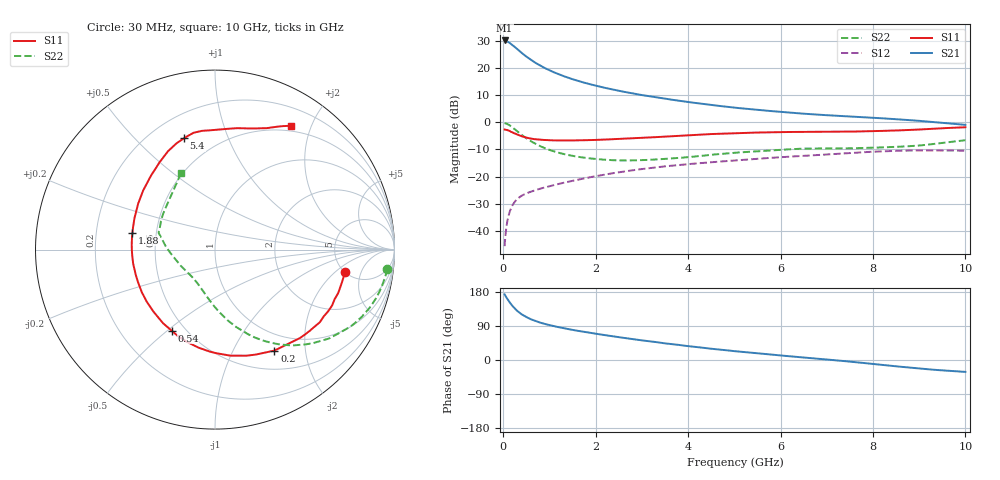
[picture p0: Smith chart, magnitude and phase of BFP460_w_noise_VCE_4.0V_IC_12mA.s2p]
! (c) 2016  Infineon Technologies AG, Munich
! Infineon Technologies  Discrete & RF Semiconductors
! BFP460
! VCE =  4.0 V,  IC =  12 mA
! Common Emitter S-Parameters:  Jan 2016
# GHz  S  MA  R  50
!  f  S11  S21  S12  S22
! GHz  MAG  ANG  MAG  ANG  MAG  ANG  MAG  ANG
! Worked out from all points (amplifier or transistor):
!   229 points, 30 MHz to 10 GHz, reference 50 ohm
!   highest |S21| = 30.2 dB at 30 MHz (marker M1)
!   |S21| within 3 dB of that: start of sweep to 290.7 MHz
!   unconditionally stable (mu >= 1): 2.28 GHz to 7.705 GHz
!   at 280 MHz: K = 0.31, MSG = 28.0 dB, |S12| = -28.7 dB
!   at 1.78 GHz: K = 0.95, MSG = 17.5 dB, |S12| = -20.6 dB
!   at 10 GHz: K = 0.96, MSG = 4.8 dB, |S12| = -10.4 dB
!   lowest NFmin = 1.03 dB at 450 MHz
!   S11 on the Smith chart (normalised r, x): 30 MHz: 5.08, -2.72; 200 MHz: 0.75, -1.47; 540 MHz: 0.42, -0.52; 1.88 GHz: 0.36, +0.09; 5.4 GHz: 0.33, +0.71; 10 GHz: 0.42, +1.71
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0.03  0.7362 -9.6  32.29 173.2  0.0052 81.3  0.9651 -6.5
0.07  0.7214 -22.6  31.5 164.7  0.0119 77.2  0.9449 -14.6
0.12  0.7012 -37.8  29.81 155.6  0.0196 71.8  0.9 -24.5
0.15  0.6827 -46.3  28.61 150.3  0.0237 68.1  0.8664 -29.9
0.2  0.6529 -59.5  26.59 142.6  0.0295 63.1  0.8059 -37.9
0.26  0.6168 -73.4  24.08 134.6  0.0351 58.3  0.7324 -46.1
0.36  0.5693 -92.8  20.33 124.0  0.0421 52.8  0.6237 -57.2
0.45  0.5374 -107.0  17.57 116.6  0.0467 49.9  0.5445 -65.0
0.54  0.5121 -118.1  15.41 111.1  0.0504 48.3  0.4828 -70.8
0.6  0.502 -125.2  14.14 107.4  0.0527 47.5  0.4472 -74.7
0.7  0.4869 -134.7  12.44 102.6  0.0563 46.9  0.4 -79.9
0.9  0.4719 -149.8  10 95.1  0.063 46.7  0.3334 -88.2
1.3  0.4626 -170.8  7.133 84.0  0.0764 47.4  0.2612 -100.8
1.7  0.466 174.1  5.535 75.2  0.0906 47.5  0.2258 -110.8
1.88  0.4696 168.4  5.029 71.7  0.0972 47.3  0.216 -115.1
2.6  0.499 149.1  3.668 58.5  0.1233 44.9  0.1978 -133.4
3.4  0.5386 132.7  2.806 45.7  0.1507 40.3  0.2088 -153.0
5.1  0.6339 108.6  1.828 22.3  0.2005 30.1  0.278 175.2
5.4  0.6439 105.5  1.726 18.9  0.2097 28.3  0.288 172.2
6.8  0.6651 93.4  1.386 3.5  0.249 19.3  0.3286 162.4
8.4  0.7018 74.1  1.156 -15.4  0.2962 6.2  0.3498 146.1
10  0.8106 58.4  0.898 -31.4  0.3005 -6.2  0.4674 113.7
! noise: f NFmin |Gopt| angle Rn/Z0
0.45  1.03  0.09  22  0.14
1.9  1.19  0.09  -179  0.12
3.5  1.2  0.36  -133  0.12
